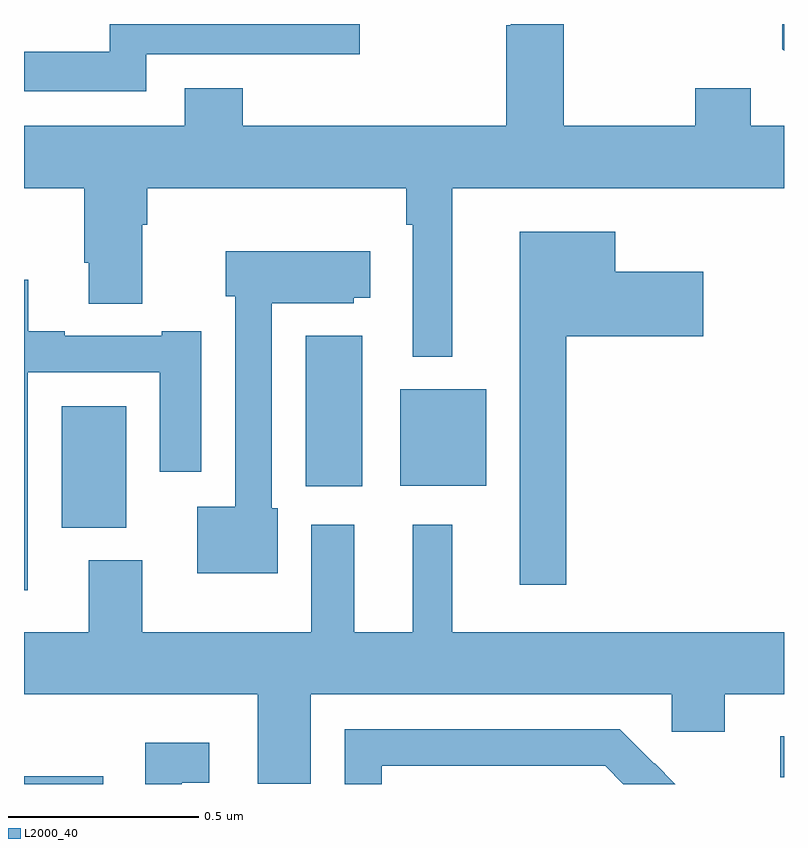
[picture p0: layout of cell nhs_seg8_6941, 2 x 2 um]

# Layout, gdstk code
import gdstk
lib = gdstk.Library(unit=1e-6, precision=1e-09)
def R(c, l, rs):  # rectangles x0, y0, x1, y1
    for r in rs: c.add(gdstk.rectangle(r[:2], r[2:], *l))
def P(c, l, *ps):  # polygons
    for p in ps: c.add(gdstk.Polygon(p, *l))
L2000_40 = (2000, 40)

nhs_seg8_6941 = lib.new_cell('nhs_seg8_6941')
R(nhs_seg8_6941, L2000_40, [(203,1146.9,203.209,1146.92), (204.99,1146.918,205,1147.026), (203.099,1147.574,203.269,1147.894), (203.741,1147.683,203.89,1148.08), (203.99,1147.685,204.217,1147.939)])
P(nhs_seg8_6941, L2000_40, [(204.127,1148.468),(205,1148.468),(205,1148.632),(204.913,1148.632),(204.913,1148.731),(204.766,1148.731),(204.766,1148.632),(204.421,1148.632),(204.421,1148.9),(204.281,1148.9),(204.281,1148.897),(204.269,1148.897),(204.269,1148.632),(203.576,1148.632),(203.576,1148.731),(203.423,1148.731),(203.423,1148.632),(203,1148.632),(203,1148.468),(203.159,1148.468),(203.159,1148.272),(203.171,1148.272),(203.171,1148.164),(203.311,1148.164),(203.311,1148.372),(203.324,1148.372),(203.324,1148.468),(204.006,1148.468),(204.006,1148.372),(204.023,1148.372),(204.023,1148.024),(204.127,1148.024)],
  [(205,1148.9),(204.996,1148.9),(204.996,1148.833),(205,1148.829)],
  [(203.322,1148.82),(203.884,1148.82),(203.884,1148.9),(203.226,1148.9),(203.226,1148.827),(203,1148.827),(203,1148.723),(203.322,1148.723)],
  [(204.427,1148.078),(204.787,1148.078),(204.787,1148.248),(204.556,1148.248),(204.556,1148.353),(204.305,1148.353),(204.305,1147.425),(204.427,1147.425)],
  [(203.668,1147.626),(203.652,1147.626),(203.652,1148.165),(203.868,1148.165),(203.868,1148.18),(203.911,1148.18),(203.911,1148.302),(203.531,1148.302),(203.531,1148.184),(203.556,1148.184),(203.556,1147.63),(203.456,1147.63),(203.456,1147.454),(203.668,1147.454)],
  [(203.01,1147.983),(203.357,1147.983),(203.357,1147.722),(203.467,1147.722),(203.467,1148.092),(203.363,1148.092),(203.363,1148.079),(203.107,1148.079),(203.107,1148.092),(203.011,1148.092),(203.011,1148.227),(203,1148.227),(203,1147.41),(203.01,1147.41)],
  [(203.755,1147.136),(204.705,1147.136),(204.705,1147.038),(204.844,1147.038),(204.844,1147.136),(205,1147.136),(205,1147.3),(204.127,1147.3),(204.127,1147.582),(204.023,1147.582),(204.023,1147.3),(203.869,1147.3),(203.869,1147.582),(203.756,1147.582),(203.756,1147.3),(203.311,1147.3),(203.311,1147.489),(203.171,1147.489),(203.171,1147.3),(203,1147.3),(203,1147.136),(203.615,1147.136),(203.615,1146.901),(203.755,1146.901)],
  [(203.941,1146.948),(204.529,1146.948),(204.577,1146.9),(204.714,1146.9),(204.66,1146.954),(204.659,1146.953),(204.568,1147.044),(203.844,1147.044),(203.844,1146.9),(203.941,1146.9)],
  [(203.415,1146.903),(203.488,1146.903),(203.488,1147.009),(203.319,1147.009),(203.319,1146.9),(203.415,1146.9)])

lib.write_gds('nhs_seg8_6941.gds')
